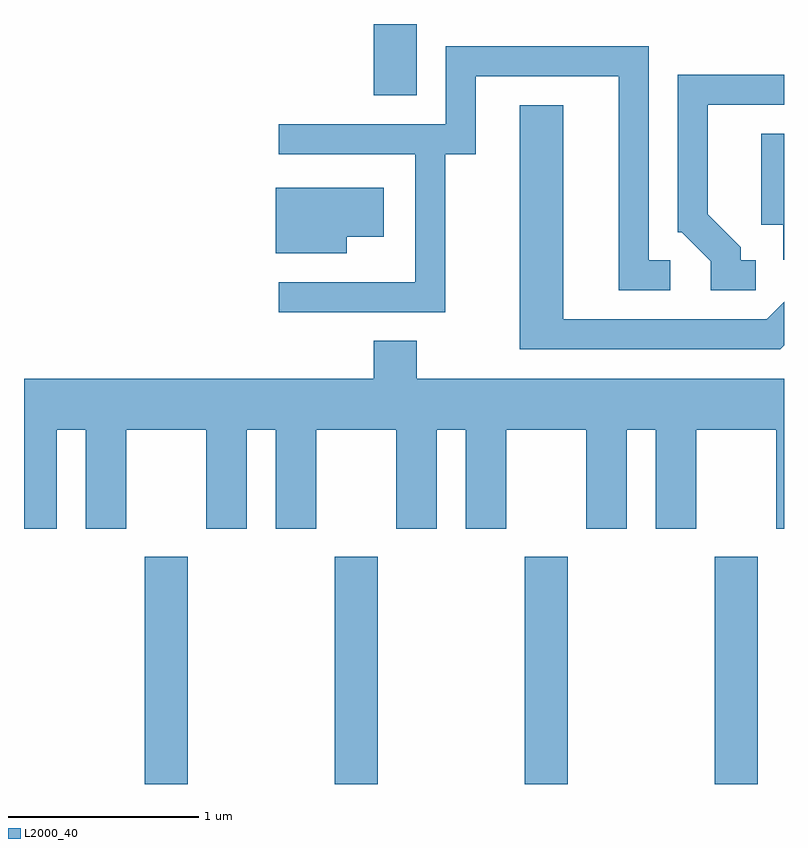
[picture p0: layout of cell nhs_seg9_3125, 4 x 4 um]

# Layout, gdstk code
import gdstk
lib = gdstk.Library(unit=1e-6, precision=1e-09)
def R(c, l, rs):  # rectangles x0, y0, x1, y1
    for r in rs: c.add(gdstk.rectangle(r[:2], r[2:], *l))
def A(c, l, x, y, w, h, nx, ny, dx, dy):  # array of equal rectangles
    R(c, l, [(x+i*dx, y+j*dy, x+i*dx+w, y+j*dy+h) for i in range(nx) for j in range(ny)])
def P(c, l, *ps):  # polygons
    for p in ps: c.add(gdstk.Polygon(p, *l))
L2000_40 = (2000, 40)

nhs_seg9_3125 = lib.new_cell('nhs_seg9_3125')
A(nhs_seg9_3125, L2000_40, 278.246, 1954.432, 0.228, 1.197, 4, 1, 1, 0)
R(nhs_seg9_3125, L2000_40, [(279.451,1958.056,279.679,1958.432)])
P(nhs_seg9_3125, L2000_40, [(279.829,1957.746),(279.989,1957.746),(279.989,1958.156),(280.741,1958.156),(280.741,1957.031),(281.013,1957.031),(281.013,1957.189),(280.899,1957.189),(280.899,1958.314),(279.831,1958.314),(279.831,1957.904),(278.953,1957.904),(278.953,1957.746),(279.671,1957.746),(279.671,1957.074),(278.953,1957.074),(278.953,1956.916),(279.829,1956.916)],
  [(281.463,1957.189),(281.384,1957.189),(281.384,1957.257),(281.209,1957.432),(281.209,1958.006),(281.611,1958.006),(281.611,1958.164),(281.051,1958.164),(281.051,1957.336),(281.074,1957.336),(281.226,1957.184),(281.226,1957.031),(281.463,1957.031)],
  [(281.611,1956.74),(281.611,1956.971),(281.519,1956.879),(280.449,1956.879),(280.449,1958.004),(280.221,1958.004),(280.221,1956.721),(281.592,1956.721)],
  [(281.611,1957.854),(281.491,1957.854),(281.491,1957.376),(281.606,1957.376),(281.606,1957.191),(281.611,1957.191)],
  [(279.309,1957.311),(279.504,1957.311),(279.504,1957.569),(278.936,1957.569),(278.936,1957.226),(279.309,1957.226)],
  [(277.784,1956.296),(277.936,1956.296),(277.936,1955.776),(278.149,1955.776),(278.149,1956.296),(278.571,1956.296),(278.571,1955.776),(278.784,1955.776),(278.784,1956.296),(278.936,1956.296),(278.936,1955.776),(279.149,1955.776),(279.149,1956.296),(279.571,1956.296),(279.571,1955.776),(279.784,1955.776),(279.784,1956.296),(279.936,1956.296),(279.936,1955.776),(280.149,1955.776),(280.149,1956.296),(280.571,1956.296),(280.571,1955.776),(280.784,1955.776),(280.784,1956.296),(280.936,1956.296),(280.936,1955.776),(281.149,1955.776),(281.149,1956.296),(281.571,1956.296),(281.571,1955.776),(281.611,1955.776),(281.611,1956.564),(279.679,1956.564),(279.679,1956.764),(279.451,1956.764),(279.451,1956.564),(277.611,1956.564),(277.611,1955.776),(277.784,1955.776)])

lib.write_gds('nhs_seg9_3125.gds')
